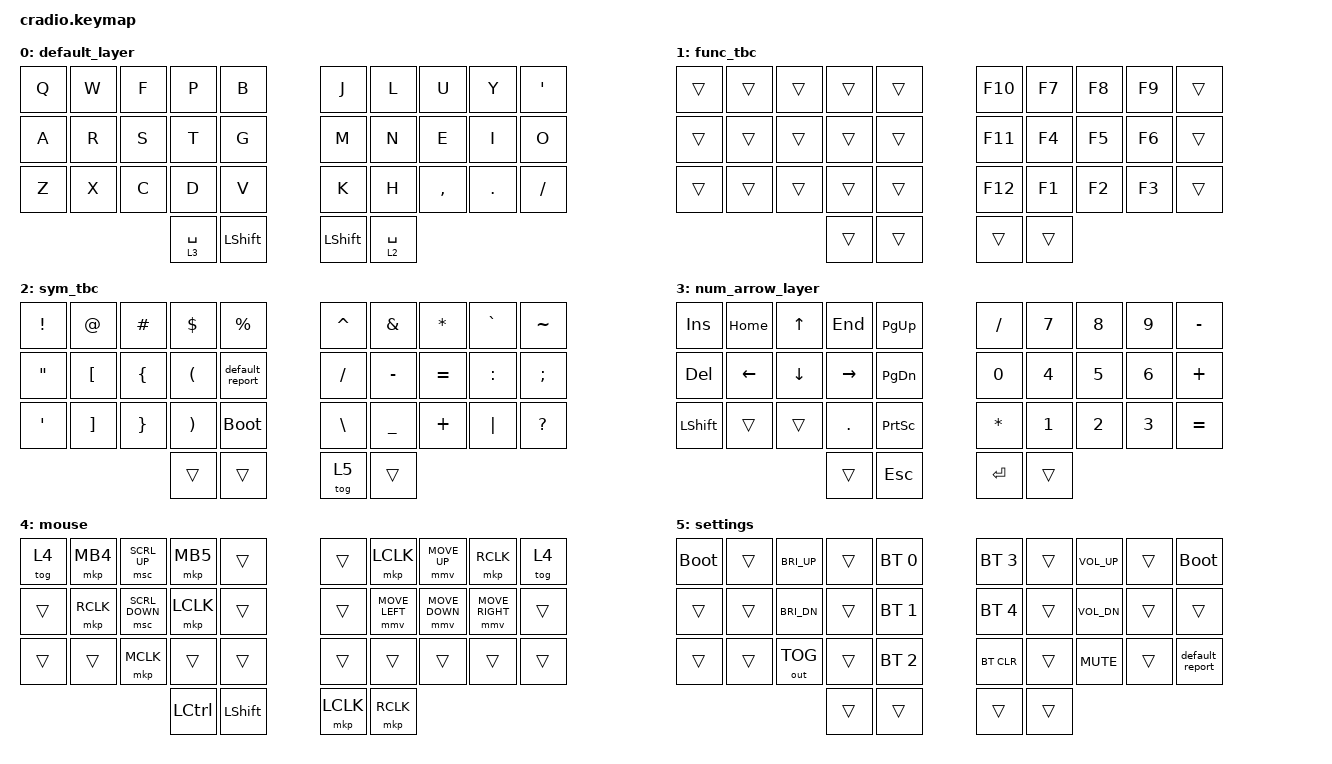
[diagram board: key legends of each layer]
// Copyright (c) 2022 The ZMK Contributors
// SPDX-License-Identifier: MIT

#define ZMK_MOUSE_DEFAULT_MOVE_VAL 2500  // 600
#define ZMK_MOUSE_DEFAULT_SCRL_VAL 20    // 10

#include <behaviors.dtsi>
#include <dt-bindings/zmk/bt.h>
#include <dt-bindings/zmk/keys.h>
#include <dt-bindings/zmk/mouse.h>
#include <dt-bindings/zmk/outputs.h>

#define MAC 0
#define WIN 1
#define RIG 2
#define LEF 3
#define TRI 4
#define MOUSE 5
#define U_MS_U &mmv MOVE_UP
#define U_MS_D &mmv MOVE_DOWN
#define U_MS_L &mmv MOVE_LEFT
#define U_MS_R &mmv MOVE_RIGHT
#define U_WH_U &msc SCRL_UP
#define U_WH_D &msc SCRL_DOWN
#define U_WH_L &msc SCRL_LEFT
#define U_WH_R &msc SCRL_RIGHT

/ {
    chosen { zmk,charmap = &charmap_us; };

    behaviors {
        ht: hold_tap {
            label = "hold_tap";
            compatible = "zmk,behavior-hold-tap";
            #binding-cells = <2>;
            flavor = "tap-preferred";
            tapping-term-ms = <220>;
            quick-tap-ms = <150>;
            global-quick-tap;
            bindings = <&kp>, <&kp>;
        };

        mmv {
            acceleration-exponent = <1>;      // 1
            time-to-max-speed-ms = <300>;    // 40
            delay-ms = <0>;                   // 0
        };

        msc {
            acceleration-exponent = <0>;      // 0
            time-to-max-speed-ms = <40>;      // 500
            delay-ms = <0>;                   // 10
        };
    };

    conditional_layers { compatible = "zmk,conditional-layers"; };

    combos {
        compatible = "zmk,combos";

        setting {
            bindings = <&lt 5 SPACE>;
            key-positions = <30 31>;
        };

        backspace {
            bindings = <&kp BACKSPACE>;
            key-positions = <7 8>;
            layers = <0>;
        };

        enter {
            bindings = <&kp ENTER>;
            key-positions = <27 28>;
            layers = <0>;
        };

        tab {
            bindings = <&kp TAB>;
            key-positions = <21 22>;
            layers = <0>;
        };

        esc {
            bindings = <&kp ESCAPE>;
            key-positions = <1 2>;
        };

        setting2 {
            bindings = <&lt 5 SPACE>;
            key-positions = <32 33>;
        };

        func {
            bindings = <&tog 1>;
            key-positions = <30 33>;
        };

        mouse {
            bindings = <&tog 4>;
            key-positions = <31 32>;
        };
    };

    keymap {
        compatible = "zmk,keymap";

        default_layer {
            bindings = <
&kp Q  &kp W  &kp F  &kp P        &kp B             &kp J           &kp L        &kp U      &kp Y    &kp SQT
&kp A  &kp R  &kp S  &kp T        &kp G             &kp M           &kp N        &kp E      &kp I    &kp O
&kp Z  &kp X  &kp C  &kp D        &kp V             &kp K           &kp H        &kp COMMA  &kp DOT  &kp SLASH
                     &lt 3 SPACE  &kp LEFT_SHIFT    &kp LEFT_SHIFT  &lt 2 SPACE
            >;
        };

        func_tbc {
            bindings = <
&trans  &trans  &trans  &trans  &trans    &kp F10  &kp F7  &kp F8  &kp F9  &trans
&trans  &trans  &trans  &trans  &trans    &kp F11  &kp F4  &kp F5  &kp F6  &trans
&trans  &trans  &trans  &trans  &trans    &kp F12  &kp F1  &kp F2  &kp F3  &trans
                        &trans  &trans    &trans   &trans
            >;
        };

        sym_tbc {
            bindings = <
&kp EXCL  &kp AT    &kp HASH  &kp DLLR  &kp PRCNT          &kp CARET  &kp AMPS   &kp ASTRK  &kp GRAVE  &kp TILDE
&kp DQT   &kp LBKT  &kp LBRC  &kp LPAR  &default_report    &kp FSLH   &kp MINUS  &kp EQUAL  &kp COLON  &kp SEMI
&kp SQT   &kp RBKT  &kp RBRC  &kp RPAR  &bootloader        &kp BSLH   &kp UNDER  &kp PLUS   &kp PIPE   &kp QMARK
                              &trans    &trans             &tog 5     &trans
            >;
        };

        num_arrow_layer {
            bindings = <
&kp INSERT      &kp HOME        &kp UP    &kp END     &kp PG_UP          &kp SLASH     &kp N7  &kp N8  &kp N9  &kp MINUS
&kp DEL         &kp LEFT_ARROW  &kp DOWN  &kp RIGHT   &kp PG_DN          &kp NUMBER_0  &kp N4  &kp N5  &kp N6  &kp PLUS
&kp LEFT_SHIFT  &trans          &trans    &kp PERIOD  &kp PRINTSCREEN    &kp ASTERISK  &kp N1  &kp N2  &kp N3  &kp EQUAL
                                          &trans      &kp ESC            &kp ENTER     &trans
            >;
        };

        mouse {
            bindings = <
&tog 4  &mkp MB4   &msc SCRL_UP    &mkp MB5          &trans        &trans     &mkp LCLK       &mmv MOVE_UP    &mkp RCLK        &tog 4
&trans  &mkp RCLK  &msc SCRL_DOWN  &mkp LCLK         &trans        &trans     &mmv MOVE_LEFT  &mmv MOVE_DOWN  &mmv MOVE_RIGHT  &trans
&trans  &trans     &mkp MCLK       &trans            &trans        &trans     &trans          &trans          &trans           &trans
                                   &kp LEFT_CONTROL  &kp LSHIFT    &mkp LCLK  &mkp RCLK
            >;
        };

        settings {
            bindings = <
&bootloader  &trans  &kp C_BRI_UP  &trans  &bt BT_SEL 0    &bt BT_SEL 3  &trans  &kp C_VOL_UP  &trans  &bootloader
&trans       &trans  &kp C_BRI_DN  &trans  &bt BT_SEL 1    &bt BT_SEL 4  &trans  &kp C_VOL_DN  &trans  &trans
&trans       &trans  &out OUT_TOG  &trans  &bt BT_SEL 2    &bt BT_CLR    &trans  &kp C_MUTE    &trans  &default_report
                                   &trans  &trans          &trans        &trans
            >;
        };
    };
};
